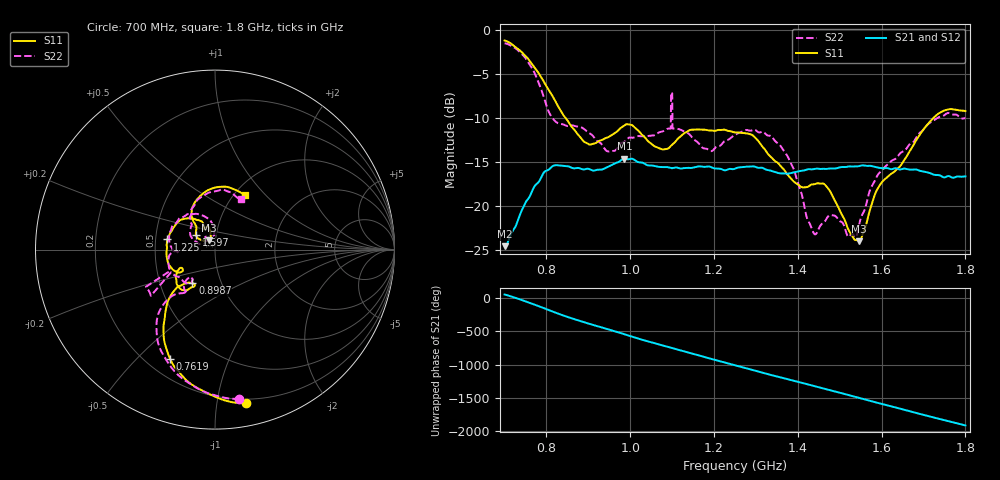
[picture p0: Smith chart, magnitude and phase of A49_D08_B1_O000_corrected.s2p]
! Created with skrf 1.9.0 (http://scikit-rf.org).
# Hz S RI R 50.0
!freq ReS11 ImS11 ReS21 ImS21 ReS12 ImS12 ReS22 ImS22
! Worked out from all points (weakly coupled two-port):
!   1601 points, 700 MHz to 1.8 GHz, reference 50 ohm
!   highest |S21| = -14.60 dB at 986 MHz (marker M1); lowest = -24.6 dB at 700.7 MHz (marker M2)
!   lowest |S11| = -24.0 dB at 1.546 GHz (marker M3), VSWR 1.13, Z = 46.4 + j4.89 ohm
!   |S11| at or under -10 dB: 845.8 MHz to 1.723 GHz (877.7 MHz wide, 68.3 % of centre)
!   |S22| runs from -23.5 to -1.5 dB; largest |S21 - S12| = 0.0036
!   S11 on the Smith chart (normalised r, x): 700 MHz: 0.17, -1.21; 761.9 MHz: 0.29, -0.63; 898.7 MHz: 0.73, -0.29; 1.225 GHz: 0.58, +0.07; 1.597 GHz: 0.80, +0.13; 1.8 GHz: 1.12, +0.77
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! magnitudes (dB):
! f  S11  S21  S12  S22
! 700 MHz  -1.2  -24.6  -24.4  -1.5
! 700.7 MHz  -1.2  -24.6  -24.3  -1.5
! 761.9 MHz  -3.6  -18.7  -18.7  -4.1
! 816.9 MHz  -7.7  -15.4  -15.5  -10.2
! 883.6 MHz  -12.3  -15.8  -15.7  -11.1
! 898.7 MHz  -12.9  -15.8  -15.8  -11.6
! 946.8 MHz  -12.2  -15.5  -15.6  -13.8
! 986 MHz  -10.8  -14.6  -14.7  -12.7
! 1.067 GHz  -13.4  -15.5  -15.5  -11.7
! 1.103 GHz  -12.9  -15.7  -15.6  -11.2
! 1.175 GHz  -11.3  -15.5  -15.5  -13.4
! 1.225 GHz  -11.3  -15.9  -15.9  -12.6
! 1.25 GHz  -11.6  -15.8  -15.7  -11.9
! 1.358 GHz  -15.4  -16.3  -16.2  -13.1
! 1.434 GHz  -17.5  -15.8  -15.8  -22.6
! 1.469 GHz  -17.8  -15.8  -15.8  -21.4
! 1.522 GHz  -22.8  -15.5  -15.5  -23.5
! 1.546 GHz  -24.0  -15.5  -15.4  -22.2
! 1.597 GHz  -17.5  -15.7  -15.7  -16.1
! 1.617 GHz  -16.6  -15.7  -15.7  -15.1
! 1.731 GHz  -9.7  -16.5  -16.5  -10.1
! 1.8 GHz  -9.2  -16.6  -16.6  -10.0
